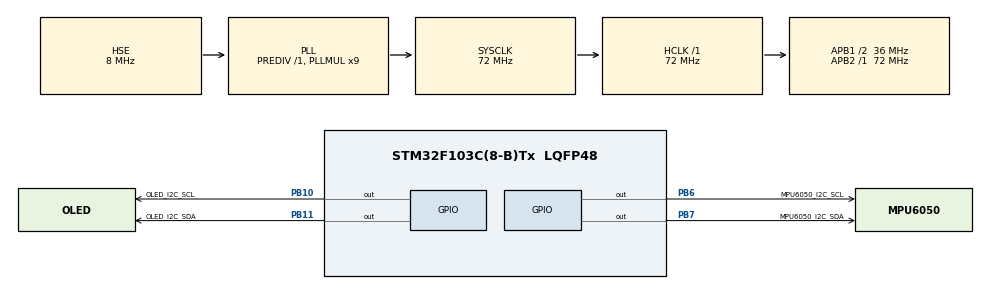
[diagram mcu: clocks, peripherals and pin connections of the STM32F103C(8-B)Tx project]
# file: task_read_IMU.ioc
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FREERTOS.Tasks01=myTask_read_IMU,41,256,StartmyTask_read_IMU,Default,NULL,Dynamic,NULL,NULL
Mcu.Family=STM32F1
Mcu.Name=STM32F103C(8-B)Tx
Mcu.Package=LQFP48
NVIC.PriorityGroup=NVIC_PRIORITYGROUP_4
NVIC.TIM4_IRQn=true\:15\:0\:false\:false\:true\:false\:false\:true
NVIC.TimeBase=TIM4_IRQn
NVIC.TimeBaseIP=TIM4
PA13.Mode=Serial_Wire
PA13.Signal=SYS_JTMS-SWDIO
PA14.Mode=Serial_Wire
PA14.Signal=SYS_JTCK-SWCLK
PB10.GPIO_Label=OLED_I2C_SCL
PB10.GPIO_ModeDefaultOutputPP=GPIO_MODE_OUTPUT_OD
PB10.GPIO_Speed=GPIO_SPEED_FREQ_MEDIUM
PB10.PinState=GPIO_PIN_SET
PB10.Signal=GPIO_Output
PB11.GPIO_Label=OLED_I2C_SDA
PB11.GPIO_ModeDefaultOutputPP=GPIO_MODE_OUTPUT_OD
PB11.Signal=GPIO_Output
PB6.GPIO_Label=MPU6050_I2C_SCL
PB6.GPIO_Speed=GPIO_SPEED_FREQ_MEDIUM
PB6.PinState=GPIO_PIN_SET
PB6.Signal=GPIO_Output
PB7.GPIO_Label=MPU6050_I2C_SDA
PB7.GPIO_Speed=GPIO_SPEED_FREQ_MEDIUM
PB7.PinState=GPIO_PIN_SET
PB7.Signal=GPIO_Output
PC14-OSC32_IN.Mode=LSE-External-Oscillator
PC14-OSC32_IN.Signal=RCC_OSC32_IN
PC15-OSC32_OUT.Mode=LSE-External-Oscillator
PC15-OSC32_OUT.Signal=RCC_OSC32_OUT
PD0-OSC_IN.Mode=HSE-External-Oscillator
PD0-OSC_IN.Signal=RCC_OSC_IN
PD1-OSC_OUT.Mode=HSE-External-Oscillator
PD1-OSC_OUT.Signal=RCC_OSC_OUT
ProjectManager.HeapSize=0x400
ProjectManager.StackSize=0x700
ProjectManager.TargetToolchain=MDK-ARM V5.32
RCC.AHBFreq_Value=72000000
RCC.APB1CLKDivider=RCC_HCLK_DIV2
RCC.APB1Freq_Value=36000000
RCC.APB1TimFreq_Value=72000000
RCC.APB2Freq_Value=72000000
RCC.APB2TimFreq_Value=72000000
RCC.HCLKFreq_Value=72000000
RCC.PLLMUL=RCC_PLL_MUL9
RCC.PLLSourceVirtual=RCC_PLLSOURCE_HSE
RCC.SYSCLKFreq_VALUE=72000000
RCC.SYSCLKSource=RCC_SYSCLKSOURCE_PLLCLK
RCC.USBFreq_Value=72000000
TIM3.AutoReloadPreload=TIM_AUTORELOAD_PRELOAD_DISABLE
VP_FREERTOS_VS_CMSIS_V2.Mode=CMSIS_V2
VP_SYS_VS_tim4.Mode=TIM4
VP_TIM3_VS_ClockSourceINT.Mode=Internal
board=custom

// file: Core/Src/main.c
/* USER CODE BEGIN Header */
/**
  ******************************************************************************
  * @file           : main.c
  * @brief          : Main program body
  ******************************************************************************
  * @attention
  *
  * <h2><center>&copy; Copyright (c) 2024 STMicroelectronics.
  * All rights reserved.</center></h2>
  *
  * This software component is licensed by ST under Ultimate Liberty license
  * SLA0044, the "License"; You may not use this file except in compliance with
  * the License. You may obtain a copy of the License at:
  *                             www.st.com/SLA0044
  *
  ******************************************************************************
  */
/* USER CODE END Header */
#include "main.h"
#include "cmsis_os.h"
#include "tim.h"
#include "gpio.h"

/* USER CODE BEGIN Includes */
#include "OLED.h"
#include "delay.h"
#include "mpu6050.h"
#include "inv_mpu.h"
/* USER CODE END Includes */

void SystemClock_Config(void);
void MX_FREERTOS_Init(void);

int main(void)
{

  /* MCU Configuration--------------------------------------------------------*/

  /* Reset of all peripherals, Initializes the Flash interface and the Systick. */
  HAL_Init();

  /* Configure the system clock */
  SystemClock_Config();

  /* Initialize all configured peripherals */
  MX_GPIO_Init();
  MX_TIM3_Init();
  /* USER CODE BEGIN 2 */
	HAL_TIM_Base_Start(&htim3);//开启定时器3,定时器3用于精确的delay
	OLED_Init();               //初始化OLED

  MPU_Init();					//初始化MPU6050
	delay_ms(200);

	while(1)
	{
		uint8_t error = mpu_dmp_init();                      //初始化mpu_dmp库
	  OLED_Printf(4,1,"error:%d",error);
		//注释printf，为方便移植，因为本工程不需要太多和IMU本身无关的东西
//		printf("ERROR:%d\r\n",error);                //串口显示初始化错误值
//		switch (error)                               //对不同错误值类型判断
//		{
//			case 0:printf("DMP库初始化正常\r\n");break;
//			case 1:printf("设置传感器失败\r\n");break;
//			case 2:printf("设置FIFO失败\r\n");break;
//			case 3:printf("设置采样率失败\r\n");break;
//			case 4:printf("加载dmp固件失败\r\n");break;
//			case 5:printf("设置陀螺仪方向失败\r\n");break;
//			case 6:printf("设置dmp功能失败\r\n");break;
//			case 7:printf("设置DMP输出速率失败\r\n");break;
//			case 8:printf("自检失败\r\n");break;
//			case 9:printf("使能DMP失败\r\n");break;
//			case 10:printf("初始化MPU6050失败\r\n");break;
//			default :printf("未知错误\r\n");break;
//		}
		if(error == 0)break;                        //如果没有错误直接退出循环
		delay_ms(200);                              //延时
	}
  /* USER CODE END 2 */

  /* Init scheduler */
  osKernelInitialize();  /* Call init function for freertos objects (in freertos.c) */
  MX_FREERTOS_Init();
  /* Start scheduler */
  osKernelStart();

  /* We should never get here as control is now taken by the scheduler */
  /* Infinite loop */
  while (1)
  {

  }
}

void SystemClock_Config(void)
{
  RCC_OscInitTypeDef RCC_OscInitStruct = {0};
  RCC_ClkInitTypeDef RCC_ClkInitStruct = {0};

  /** Initializes the RCC Oscillators according to the specified parameters
  * in the RCC_OscInitTypeDef structure.
  */
  RCC_OscInitStruct.OscillatorType = RCC_OSCILLATORTYPE_HSE;
  RCC_OscInitStruct.HSEState = RCC_HSE_ON;
  RCC_OscInitStruct.HSEPredivValue = RCC_HSE_PREDIV_DIV1;
  RCC_OscInitStruct.HSIState = RCC_HSI_ON;
  RCC_OscInitStruct.PLL.PLLState = RCC_PLL_ON;
  RCC_OscInitStruct.PLL.PLLSource = RCC_PLLSOURCE_HSE;
  RCC_OscInitStruct.PLL.PLLMUL = RCC_PLL_MUL9;
  if (HAL_RCC_OscConfig(&RCC_OscInitStruct) != HAL_OK)
  {
    Error_Handler();
  }
  /** Initializes the CPU, AHB and APB buses clocks
  */
  RCC_ClkInitStruct.ClockType = RCC_CLOCKTYPE_HCLK|RCC_CLOCKTYPE_SYSCLK
                              |RCC_CLOCKTYPE_PCLK1|RCC_CLOCKTYPE_PCLK2;
  RCC_ClkInitStruct.SYSCLKSource = RCC_SYSCLKSOURCE_PLLCLK;
  RCC_ClkInitStruct.AHBCLKDivider = RCC_SYSCLK_DIV1;
  RCC_ClkInitStruct.APB1CLKDivider = RCC_HCLK_DIV2;
  RCC_ClkInitStruct.APB2CLKDivider = RCC_HCLK_DIV1;

  if (HAL_RCC_ClockConfig(&RCC_ClkInitStruct, FLASH_LATENCY_2) != HAL_OK)
  {
    Error_Handler();
  }
}

void HAL_TIM_PeriodElapsedCallback(TIM_HandleTypeDef *htim)
{
  if (htim->Instance == TIM4) {
    HAL_IncTick();
  }
}

void Error_Handler(void)
{
  __disable_irq();
  while (1)
  {
  }
}

/************************ (C) COPYRIGHT STMicroelectronics *****END OF FILE****/

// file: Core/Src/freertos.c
/* USER CODE BEGIN Header */
/**
  ******************************************************************************
  * File Name          : freertos.c
  * Description        : Code for freertos applications
  ******************************************************************************
  * @attention
  *
  * <h2><center>&copy; Copyright (c) 2024 STMicroelectronics.
  * All rights reserved.</center></h2>
  *
  * This software component is licensed by ST under Ultimate Liberty license
  * SLA0044, the "License"; You may not use this file except in compliance with
  * the License. You may obtain a copy of the License at:
  *                             www.st.com/SLA0044
  *
  ******************************************************************************
  */
/* USER CODE END Header */

#include "FreeRTOS.h"
#include "task.h"
#include "main.h"
#include "cmsis_os.h"

/* USER CODE BEGIN Includes */
#include "OLED.h"
#include "delay.h"
#include "mpu6050.h"
#include "inv_mpu.h"
/* USER CODE END Includes */

/* Definitions for myTask_read_IMU */
osThreadId_t myTask_read_IMUHandle;
const osThreadAttr_t myTask_read_IMU_attributes = {
  .name = "myTask_read_IMU",
  .stack_size = 256 * 4,
  .priority = (osPriority_t) osPriorityHigh1,
};

void StartmyTask_read_IMU(void *argument);

void MX_FREERTOS_Init(void); /* (MISRA C 2004 rule 8.1) */

void MX_FREERTOS_Init(void) {

  /* Create the thread(s) */
  /* creation of myTask_read_IMU */
  myTask_read_IMUHandle = osThreadNew(StartmyTask_read_IMU, NULL, &myTask_read_IMU_attributes);

}

void StartmyTask_read_IMU(void *argument)
{
  /* USER CODE BEGIN StartmyTask_read_IMU */
	//初始化MPU6050和dmp库
	float pitch,roll,yaw; 		//欧拉角
	short aacx,aacy,aacz;		//加速度传感器原始数据
	short gyrox,gyroy,gyroz;	//陀螺仪原始数据

  /* Infinite loop */
  for(;;)
  {

		MPU_Get_Gyroscope(&gyrox,&gyroy,&gyroz);//获取三轴角速度
    MPU_Get_Accelerometer(&aacx,&aacy,&aacz);//获取三轴加速度
		mpu_dmp_get_data(&pitch,&roll,&yaw);     //获取欧拉角

		OLED_Printf(1,1,"ax:%d",aacx);
		OLED_Printf(2,1,"ay:%d",aacy);
		OLED_Printf(3,1,"az:%d",aacz);
		OLED_Printf(1,9,"gx:%d",gyrox);
		OLED_Printf(2,10,"gy:%d",gyroy);
		OLED_Printf(3,10,"gz:%d",gyroz);

    vTaskDelay(10);
  }
  /* USER CODE END StartmyTask_read_IMU */
}

/************************ (C) COPYRIGHT STMicroelectronics *****END OF FILE****/
